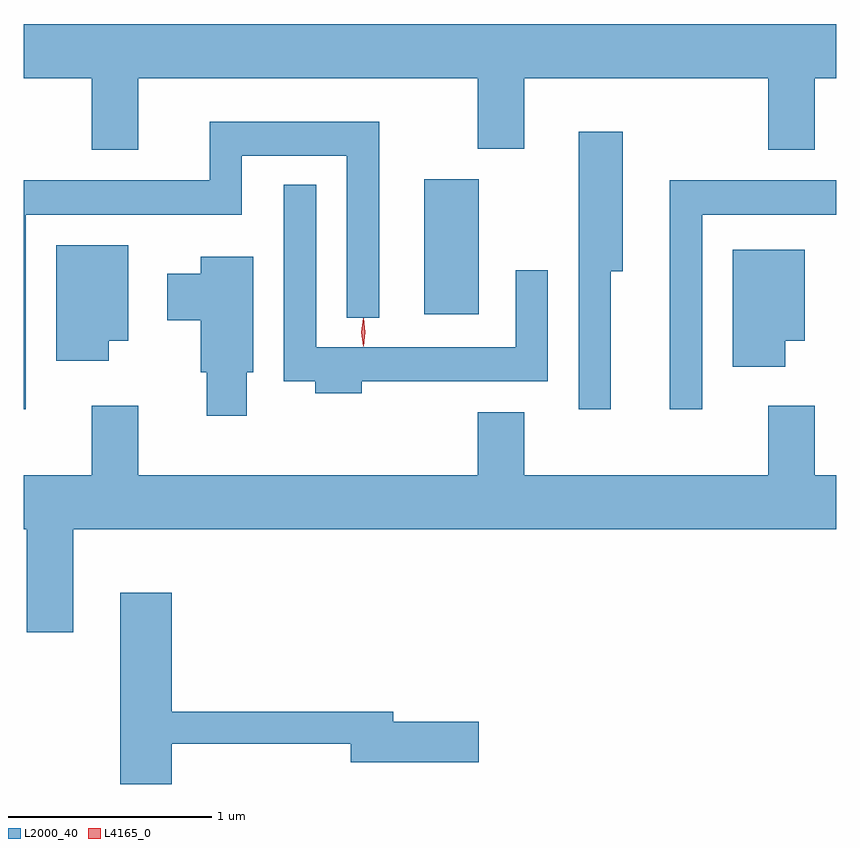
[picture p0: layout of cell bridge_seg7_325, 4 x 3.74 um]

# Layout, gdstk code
import gdstk
lib = gdstk.Library(unit=1e-6, precision=1e-09)
def R(c, l, rs):  # rectangles x0, y0, x1, y1
    for r in rs: c.add(gdstk.rectangle(r[:2], r[2:], *l))
def P(c, l, *ps):  # polygons
    for p in ps: c.add(gdstk.Polygon(p, *l))
L2000_40 = (2000, 40)
L4165_0 = (4165, 0)

bridge_seg7_325 = lib.new_cell('bridge_seg7_325')
R(bridge_seg7_325, L2000_40, [(1177.256,1766.436,1177.524,1767.099)])
P(bridge_seg7_325, L2000_40, [(1175.849,1767.596),(1177.521,1767.596),(1177.521,1767.251),(1177.749,1767.251),(1177.749,1767.596),(1178.951,1767.596),(1178.951,1767.246),(1179.179,1767.246),(1179.179,1767.596),(1179.285,1767.596),(1179.285,1767.864),(1175.285,1767.864),(1175.285,1767.596),(1175.621,1767.596),(1175.621,1767.246),(1175.849,1767.246)],
  [(1175.294,1766.926),(1176.359,1766.926),(1176.359,1767.216),(1176.876,1767.216),(1176.876,1766.418),(1177.034,1766.418),(1177.034,1767.384),(1176.201,1767.384),(1176.201,1767.094),(1175.285,1767.094),(1175.285,1765.968),(1175.294,1765.968)],
  [(1178.174,1766.646),(1178.234,1766.646),(1178.234,1767.334),(1178.016,1767.334),(1178.016,1765.968),(1178.174,1765.968)],
  [(1178.624,1766.926),(1179.285,1766.926),(1179.285,1767.094),(1178.466,1767.094),(1178.466,1765.968),(1178.624,1765.968)],
  [(1176.949,1766.106),(1177.864,1766.106),(1177.864,1766.653),(1177.706,1766.653),(1177.706,1766.274),(1176.724,1766.274),(1176.724,1767.073),(1176.566,1767.073),(1176.566,1766.106),(1176.721,1766.106),(1176.721,1766.046),(1176.949,1766.046)],
  [(1175.704,1766.306),(1175.799,1766.306),(1175.799,1766.774),(1175.446,1766.774),(1175.446,1766.206),(1175.704,1766.206)],
  [(1179.034,1766.306),(1179.129,1766.306),(1179.129,1766.754),(1178.776,1766.754),(1178.776,1766.176),(1179.034,1766.176)],
  [(1176.384,1766.151),(1176.414,1766.151),(1176.414,1766.719),(1176.156,1766.719),(1176.156,1766.634),(1175.991,1766.634),(1175.991,1766.406),(1176.156,1766.406),(1176.156,1766.151),(1176.186,1766.151),(1176.186,1765.936),(1176.384,1765.936)],
  [(1175.529,1765.376),(1179.285,1765.376),(1179.285,1765.644),(1179.179,1765.644),(1179.179,1765.984),(1178.951,1765.984),(1178.951,1765.644),(1177.749,1765.644),(1177.749,1765.954),(1177.521,1765.954),(1177.521,1765.644),(1175.849,1765.644),(1175.849,1765.984),(1175.621,1765.984),(1175.621,1765.644),(1175.285,1765.644),(1175.285,1765.376),(1175.301,1765.376),(1175.301,1764.871),(1175.529,1764.871)],
  [(1176.014,1764.321),(1176.896,1764.321),(1176.896,1764.231),(1177.524,1764.231),(1177.524,1764.429),(1177.104,1764.429),(1177.104,1764.479),(1176.014,1764.479),(1176.014,1765.064),(1175.761,1765.064),(1175.761,1764.123),(1176.014,1764.123)])
P(bridge_seg7_325, L4165_0, [(1176.957,1766.277),(1176.957,1766.278),(1176.947,1766.347),(1176.957,1766.416),(1176.957,1766.416),(1176.958,1766.416),(1176.967,1766.347),(1176.958,1766.278)])

lib.write_gds('bridge_seg7_325.gds')
